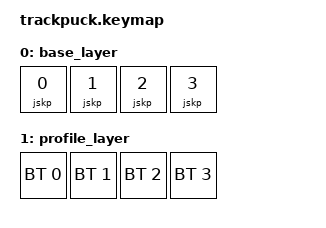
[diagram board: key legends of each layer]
/*
 * Copyright (c) 2026 The ZMK Contributors
 *
 * SPDX-License-Identifier: MIT
 */

 #include <zephyr/dt-bindings/input/input-event-codes.h>

#include <behaviors.dtsi>
#include <dt-bindings/zmk/keys.h>
#include <dt-bindings/zmk/bt.h>
#include <dt-bindings/zmk/outputs.h>
#include <dt-bindings/zmk/mouse.h>
#include <dt-bindings/zmk/input_transform.h>
#include <input/processors.dtsi>

#include <input/processors/trixer.dtsi>
#include <input/processors/report_rate_limit.dtsi>

#define BASE 0
#define PROFILE 1

&zip_report_rate_limit {
        limit-ble-only;
};

/ {
        xy_transf: xy_transf {
                compatible = "zmk,input-processor-transform";
                #input-processor-cells = <1>;
                type = <INPUT_EV_REL>;
                x-codes = <INPUT_REL_X>, <INPUT_REL_WHEEL>;
                y-codes = <INPUT_REL_Y>, <INPUT_REL_HWHEEL>;
        };
        xy_scaler: xy_scaler {
                compatible = "zmk,input-processor-scaler";
                #input-processor-cells = <2>;
                type = <INPUT_EV_REL>;
                codes = <INPUT_REL_X>, <INPUT_REL_Y>;
                track-remainders;
        };
        z_scaler: z_scaler {
                compatible = "zmk,input-processor-scaler";
                #input-processor-cells = <2>;
                type = <INPUT_EV_REL>;
                codes = <INPUT_REL_Z>;
                track-remainders;
        };

        mlxpuck1_il {
                compatible = "zmk,input-listener";
                device = <&mlxpuck1>;
                input-processors = <&xy_transf (INPUT_TRANSFORM_Y_INVERT)>
                                ,  <&xy_scaler 1 30>, <&z_scaler 1 30>
                                ,  <&zip_trixer 0>;
        };
        mlxpuck2_il {
                compatible = "zmk,input-listener";
                device = <&mlxpuck2>;
                input-processors = <&xy_transf (INPUT_TRANSFORM_Y_INVERT)>
                                ,  <&xy_scaler 1 30>, <&z_scaler 1 30>
                                ,  <&zip_trixer 1>;
        };
        mlxpuck3_il {
                compatible = "zmk,input-listener";
                device = <&mlxpuck3>;
                input-processors = <&xy_transf (INPUT_TRANSFORM_Y_INVERT)>
                                ,  <&xy_scaler 1 30>, <&z_scaler 1 30>
                                ,  <&zip_trixer 2>;
        };
        trixer_il {
		compatible = "zmk,input-listener";
		device = <&zip_trixer>;
                input-processors = <&zip_fwd_to_hid_joystick>;
                // input-processors = <&xy_scaler 3 7>, <&z_scaler 3 7>;
	};

        zip_fwd_to_hid_joystick: zip_forward_fwd_to_hid_joystick {
                compatible = "zmk,input-processor-fwd-to-hid-joystick";
                #input-processor-cells = <0>;
        };
        jskp: hid_joystick_key_press {
                compatible = "zmk,behavior-hid-joystick-key-press";
                #binding-cells = <1>;
        };
	jskp_il {
		compatible = "zmk,input-listener";
		device = <&jskp>;
                input-processors = <&zip_fwd_to_hid_joystick>;
	};
 
        // button position view form top 
        //
        //  0 1   2 3
        //
        combos {
                compatible = "zmk,combos";

                go_to_profile {
                        timeout-ms = <80>;
                        key-positions = <0 1 2 3>;
                        bindings = <&to PROFILE>;
                        layers = <BASE>;
                };

                use_ble {
                        timeout-ms = <80>;
                        key-positions = <0 1>;
                        bindings = <&out OUT_BLE>;
                        layers = <PROFILE>;
                };

                use_usb {
                        timeout-ms = <80>;
                        key-positions = <2 3>;
                        bindings = <&out OUT_USB>;
                        layers = <PROFILE>;
                };

                bt_clr {
                        timeout-ms = <80>;
                        key-positions = <0 3>;   // DANGER combo
                        bindings = <&bt BT_CLR>;
                        layers = <PROFILE>;
                };

                tog_profile {
                        timeout-ms = <80>;
                        key-positions = <0 1 2 3>;
                        bindings = <&tog PROFILE>;
                        layers = <PROFILE>;
                };
        };

        keymap {
                compatible = "zmk,keymap";
                base_layer {
                        bindings = < &jskp 0  &jskp 1  &jskp 2  &jskp 3 >;
                };
                profile_layer {
                        bindings = < &bt BT_SEL 0  &bt BT_SEL 1  &bt BT_SEL 2  &bt BT_SEL 3 >;
                };
       };
};
